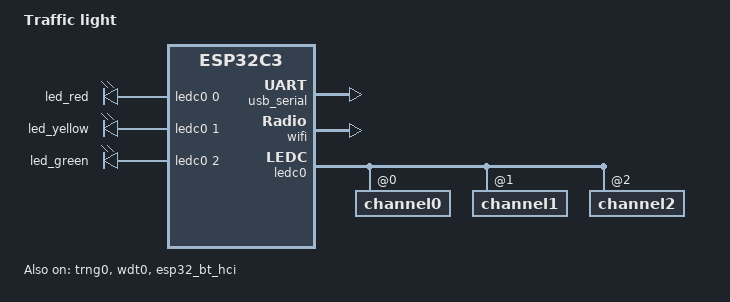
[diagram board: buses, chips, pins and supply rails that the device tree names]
/dts-v1/;

#include <espressif/esp32c3/esp32c3_fx4.dtsi>
#include "traffic_light-pinctrl.dtsi"
#include <zephyr/dt-bindings/input/input-event-codes.h>
#include <espressif/partitions_0x0_default.dtsi>
#include <zephyr/dt-bindings/pwm/pwm.h>

/ {
	model = "Traffic light";
	compatible = "balto,traffic-light";

	chosen {
		zephyr,sram = &sram1;
		zephyr,console = &usb_serial;
		zephyr,shell-uart = &usb_serial;
		zephyr,flash = &flash0;
		zephyr,code-partition = &slot0_partition;
		zephyr,bt-hci = &esp32_bt_hci;
	};

	pwmleds {
		compatible = "pwm-leds";

		led_red: led_red {
			pwms = <&ledc0 0 PWM_HZ(250) PWM_POLARITY_NORMAL>;
		};
		led_yellow: led_yellow {
			pwms = <&ledc0 1 PWM_HZ(250) PWM_POLARITY_NORMAL>;
		};
		led_green: led_green {
			pwms = <&ledc0 2 PWM_HZ(250) PWM_POLARITY_NORMAL>;
		};
	};
};

&usb_serial {
	status = "okay";
};

&trng0 {
	status = "okay";
};

&gpio0 {
	status = "okay";
};

&wdt0 {
	status = "okay";
};

&wifi {
	status = "okay";
};

&esp32_bt_hci {
	status = "okay";
};

&ledc0 {
	pinctrl-0 = <&ledc0_default>;
	pinctrl-names = "default";
	status = "okay";

	#address-cells = <1>;
	#size-cells = <0>;

	channel0@0 {
		reg = <0x0>;
		timer = <0>;
	};
	channel1@1 {
		reg = <0x1>;
		timer = <1>;
	};
	channel2@2 {
		reg = <0x2>;
		timer = <2>;
	};
};
